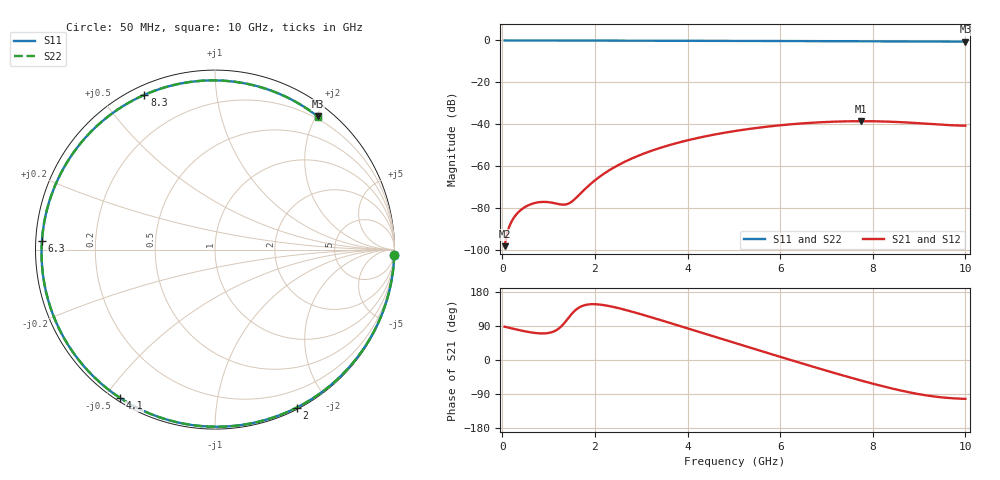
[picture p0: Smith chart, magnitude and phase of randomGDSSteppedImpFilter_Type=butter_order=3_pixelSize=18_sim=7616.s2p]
! freq	dB(S11)	phase(S11)	dB(S12)	phase(S12)
!  dB(S21)	phase(S21)	dB(S22)	phase(S22)
!S-par simulation data
#  GHz  S  DB  R 50
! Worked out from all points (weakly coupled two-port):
!   200 points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, 50 MHz to 10 GHz, reference 50 ohm
!   highest |S21| = -38.55 dB at 7.75 GHz (marker M1); lowest = -98.2 dB at 50 MHz (marker M2)
!   lowest |S11| = -0.6 dB at 10 GHz (marker M3), VSWR 30.63, Z = 8.35 + j101 ohm
!   |S11| at or under -10 dB: nowhere
!   |S22| runs from -0.6 to 0.0 dB; largest |S21 - S12| = 0
!   S11 on the Smith chart (normalised r, x): 50 MHz: 2, -70; 2 GHz: 0.02, -1.64; 4.1 GHz: 0.01, -0.55; 6.3 GHz: 0.02, +0.03; 8.3 GHz: 0.04, +0.64; 10 GHz: 0.17, +2.02
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0.05  -0.01 -1.6  -98.21 87.9  -98.21 87.9  -0.01 -1.6
0.45  -0.02 -14.5  -80.10 76.7  -80.10 76.7  -0.02 -14.5
0.65  -0.02 -20.9  -77.93 72.3  -77.93 72.3  -0.02 -20.9
0.85  -0.03 -27.3  -77.11 70.1  -77.11 70.1  -0.03 -27.3
1.4  -0.06 -44.5  -78.13 106.6  -78.13 106.6  -0.06 -44.5
1.55  -0.06 -49.1  -76.05 128.2  -76.05 128.2  -0.06 -49.1
1.75  -0.07 -55.2  -71.74 143.7  -71.74 143.7  -0.07 -55.2
2  -0.08 -62.7  -66.79 147.3  -66.79 147.3  -0.08 -62.7
2.6  -0.10 -80.4  -58.41 134.1  -58.41 134.1  -0.10 -80.4
3.4  -0.13 -103.2  -51.36 106.0  -51.36 106.0  -0.13 -103.2
4.1  -0.16 -122.5  -47.15 79.8  -47.15 79.8  -0.16 -122.5
5.05  -0.22 -148.3  -43.15 43.9  -43.15 43.9  -0.22 -148.3
5.7  -0.26 -166.1  -41.21 19.5  -41.21 19.5  -0.26 -166.1
6.3  -0.31 177.0  -39.90 -2.7  -39.90 -2.7  -0.31 177.0
6.7  -0.34 165.4  -39.27 -17.4  -39.27 -17.4  -0.34 165.3
7.2  -0.38 150.3  -38.75 -35.3  -38.75 -35.3  -0.38 150.3
7.75  -0.42 132.9  -38.55 -54.3  -38.55 -54.3  -0.42 132.9
8.3  -0.47 114.5  -38.74 -71.8  -38.74 -71.8  -0.47 114.5
8.35  -0.47 112.8  -38.77 -73.3  -38.77 -73.3  -0.47 112.7
8.8  -0.50 96.9  -39.24 -85.6  -39.24 -85.6  -0.50 96.9
9.2  -0.53 82.4  -39.81 -94.2  -39.81 -94.2  -0.53 82.3
10  -0.57 52.4  -40.69 -102.6  -40.69 -102.6  -0.57 52.3
